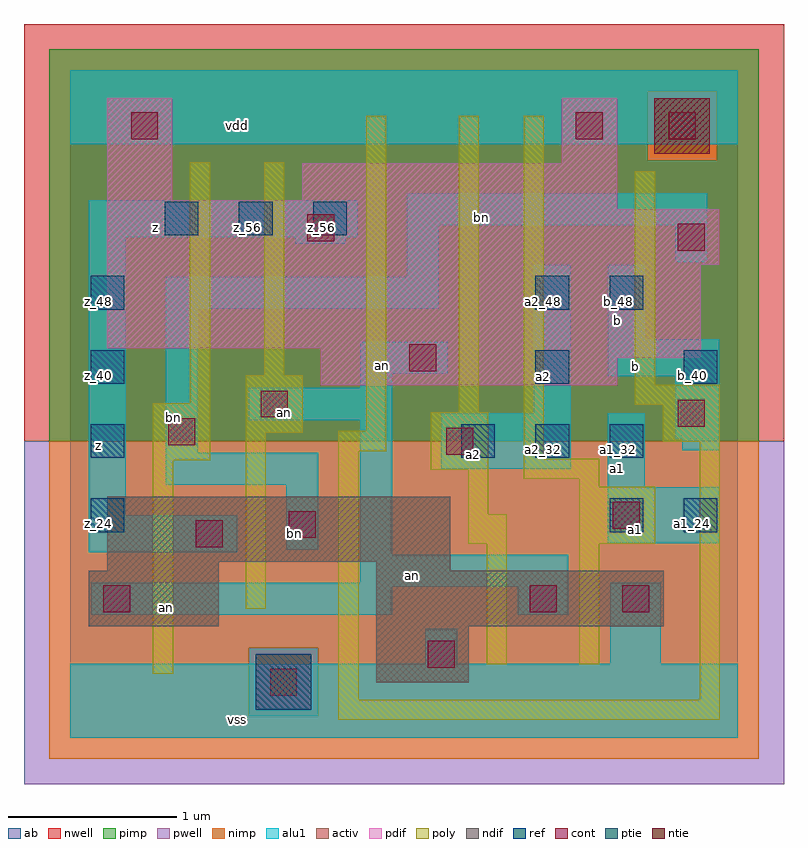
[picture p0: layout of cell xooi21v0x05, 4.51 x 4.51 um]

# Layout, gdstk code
import gdstk
lib = gdstk.Library(unit=1e-6, precision=2.5e-09)
def R(c, l, rs):  # rectangles x0, y0, x1, y1
    for r in rs: c.add(gdstk.rectangle(r[:2], r[2:], *l))
def A(c, l, x, y, w, h, nx, ny, dx, dy):  # array of equal rectangles
    R(c, l, [(x+i*dx, y+j*dy, x+i*dx+w, y+j*dy+h) for i in range(nx) for j in range(ny)])
ndif = (3, 0)
pdif = (4, 0)
ntie = (5, 0)
ptie = (6, 0)
ref = (24, 0)
cont = (25, 0)
pwell = (41, 0)
nwell = (42, 0)
activ = (43, 0)
pimp = (44, 0)
nimp = (45, 0)
poly = (46, 0)
alu1 = (49, 0)
ab = (63, 0)

xooi21v0x05 = lib.new_cell('xooi21v0x05')
R(xooi21v0x05, ndif, [(1.815,0.33,2.365,0.66), (0.11,0.66,0.88,0.99), (1.815,0.66,3.52,0.99), (0.22,0.99,0.88,1.045), (1.815,0.99,2.255,1.045), (0.22,1.045,2.255,1.43)])
R(xooi21v0x05, pdif, [(1.485,2.09,3.245,2.255), (1.485,2.255,3.74,2.31), (0.22,2.31,3.74,2.805), (0.22,2.805,3.85,3.135), (0.22,3.135,3.245,3.19), (0.22,3.19,0.605,3.795), (1.375,3.19,3.245,3.41), (2.915,3.41,3.245,3.795)])
R(xooi21v0x05, ntie, [(3.465,3.465,3.795,3.795)])
R(xooi21v0x05, ptie, [(1.1,0.165,1.43,0.495)])
A(xooi21v0x05, ref, 0.12, 1.22, 0.2, 0.2, 1, 4, 0, 0.44)
A(xooi21v0x05, ref, 2.32, 1.66, 0.2, 0.2, 3, 1, 0.44, 0)
A(xooi21v0x05, ref, 0.56, 2.98, 0.2, 0.2, 3, 1, 0.44, 0)
R(xooi21v0x05, ref, [(3.2,1.22,3.4,1.42), (3.64,1.22,3.84,1.42), (2.76,2.1,2.96,2.3), (3.64,2.1,3.84,2.3), (2.76,2.54,2.96,2.74), (3.2,2.54,3.4,2.74)])
R(xooi21v0x05, cont, [(1.185,0.25,1.345,0.41), (2.12,0.415,2.28,0.575), (0.195,0.745,0.355,0.905), (2.725,0.745,2.885,0.905), (3.275,0.745,3.435,0.905), (0.745,1.13,0.905,1.29), (1.295,1.185,1.455,1.345), (3.22,1.24,3.38,1.4), (2.23,1.68,2.39,1.84), (0.58,1.735,0.74,1.895), (3.605,1.845,3.765,2.005), (1.13,1.9,1.29,2.06), (2.01,2.175,2.17,2.335), (3.605,2.89,3.765,3.05), (1.405,2.945,1.565,3.105), (0.36,3.55,0.52,3.71), (3,3.55,3.16,3.71), (3.55,3.55,3.71,3.71)])
R(xooi21v0x05, pwell, [(-0.275,-0.275,4.235,1.76)])
R(xooi21v0x05, nwell, [(-0.275,1.76,4.235,4.235)])
R(xooi21v0x05, activ, [(1.1,0.165,1.43,0.495), (1.815,0.33,2.365,0.66), (0.11,0.66,0.88,0.99), (1.815,0.66,3.52,0.99), (0.22,0.99,0.88,1.045), (1.815,0.99,2.255,1.045), (0.22,1.045,2.255,1.43), (1.485,2.09,3.245,2.255), (1.485,2.255,3.74,2.31), (0.22,2.31,3.74,2.805), (0.22,2.805,3.85,3.135), (0.22,3.135,3.245,3.19), (0.22,3.19,0.605,3.795), (1.375,3.19,3.245,3.41), (2.915,3.41,3.245,3.795), (3.465,3.465,3.795,3.795)])
R(xooi21v0x05, pimp, [(1.06,0.125,1.47,0.535), (-0.125,1.76,4.085,3.425), (-0.125,3.425,3.425,3.835), (3.835,3.425,4.085,3.835), (-0.125,3.835,4.085,4.085)])
R(xooi21v0x05, nimp, [(-0.125,-0.125,4.085,0.125), (-0.125,0.125,1.06,0.535), (1.47,0.125,4.085,0.535), (-0.125,0.535,4.085,1.76), (3.425,3.425,3.835,3.835)])
R(xooi21v0x05, poly, [(1.59,0.105,3.855,0.225), (1.59,0.225,1.71,1.7), (3.735,0.225,3.855,1.755), (0.49,0.38,0.61,1.645), (2.47,0.435,2.59,1.15), (3.02,0.435,3.14,1.15), (1.04,0.765,1.16,1.81), (2.36,1.15,2.59,1.325), (3.02,1.15,3.47,1.49), (2.36,1.325,2.48,1.59), (3.02,1.49,3.14,1.535), (2.69,1.535,3.14,1.655), (2.14,1.59,2.48,1.93), (0.49,1.645,0.83,1.985), (2.69,1.655,2.81,3.69), (1.59,1.7,1.875,1.82), (3.515,1.755,3.855,1.975), (1.04,1.81,1.38,2.15), (1.755,1.82,1.875,3.69), (2.305,1.93,2.425,3.69), (3.35,1.975,3.855,2.095), (0.71,1.985,0.83,3.415), (3.35,2.095,3.47,3.36), (1.15,2.15,1.27,3.415)])
R(xooi21v0x05, alu1, [(0,0,3.96,0.44), (2.105,0.44,2.295,0.645), (3.205,0.44,3.505,0.92), (0.125,0.73,1.91,0.895), (2.655,0.73,2.955,0.895), (0.125,0.895,2.955,0.92), (1.72,0.92,2.955,1.085), (1.72,1.085,1.91,1.885), (0.11,1.1,0.99,1.32), (1.28,1.115,1.47,1.5), (3.19,1.155,3.85,1.485), (0.11,1.32,0.33,2.97), (3.19,1.485,3.41,1.925), (0.565,1.5,1.47,1.69), (2.2,1.595,2.97,1.925), (0.565,1.69,0.755,2.545), (3.63,1.705,3.85,1.775), (3.59,1.775,3.85,2.145), (1.06,1.885,1.91,2.075), (2.75,1.925,2.97,2.805), (1.72,2.075,1.91,2.16), (3.19,2.145,3.85,2.365), (1.72,2.16,2.24,2.35), (3.19,2.365,3.41,2.805), (0.565,2.545,2.185,2.735), (1.995,2.735,2.185,3.04), (3.59,2.82,3.78,3.04), (1.335,2.93,1.635,2.97), (0.11,2.97,1.705,3.19), (1.995,3.04,3.78,3.23), (0,3.52,3.96,3.96)])
R(xooi21v0x05, ab, [(0,0,3.96,3.96)])
xooi21v0x05.add(gdstk.Label('vss', (0.99,0.11), layer=49, texttype=0))
xooi21v0x05.add(gdstk.Label('an', (0.57,0.77), layer=49, texttype=0))
xooi21v0x05.add(gdstk.Label('an', (2.0275,0.96), layer=49, texttype=0))
xooi21v0x05.add(gdstk.Label('a1', (3.355,1.2375), layer=49, texttype=0))
xooi21v0x05.add(gdstk.Label('a1', (3.245,1.595), layer=49, texttype=0))
xooi21v0x05.add(gdstk.Label('a2', (2.3925,1.6775), layer=49, texttype=0))
xooi21v0x05.add(gdstk.Label('bn', (1.3275,1.21), layer=49, texttype=0))
xooi21v0x05.add(gdstk.Label('b', (3.355,2.2), layer=49, texttype=0))
xooi21v0x05.add(gdstk.Label('b', (3.245,2.475), layer=49, texttype=0))
xooi21v0x05.add(gdstk.Label('a2', (2.805,2.145), layer=49, texttype=0))
xooi21v0x05.add(gdstk.Label('an', (1.2725,1.9325), layer=49, texttype=0))
xooi21v0x05.add(gdstk.Label('an', (1.85,2.2075), layer=49, texttype=0))
xooi21v0x05.add(gdstk.Label('bn', (0.6125,1.9025), layer=49, texttype=0))
xooi21v0x05.add(gdstk.Label('z', (0.165,1.7325), layer=49, texttype=0))
xooi21v0x05.add(gdstk.Label('bn', (2.44,3.0875), layer=49, texttype=0))
xooi21v0x05.add(gdstk.Label('z', (0.5075,3.025), layer=49, texttype=0))
xooi21v0x05.add(gdstk.Label('vdd', (0.99,3.63), layer=49, texttype=0))
xooi21v0x05.add(gdstk.Label('z_56', (0.61,3.03), layer=24, texttype=0))
xooi21v0x05.add(gdstk.Label('z_56', (1.05,3.03), layer=24, texttype=0))
xooi21v0x05.add(gdstk.Label('z_56', (1.49,3.03), layer=24, texttype=0))
xooi21v0x05.add(gdstk.Label('z_24', (0.17,1.27), layer=24, texttype=0))
xooi21v0x05.add(gdstk.Label('z_32', (0.17,1.71), layer=24, texttype=0))
xooi21v0x05.add(gdstk.Label('z_40', (0.17,2.15), layer=24, texttype=0))
xooi21v0x05.add(gdstk.Label('z_48', (0.17,2.59), layer=24, texttype=0))
xooi21v0x05.add(gdstk.Label('a2_32', (2.37,1.71), layer=24, texttype=0))
xooi21v0x05.add(gdstk.Label('a2_32', (2.81,1.71), layer=24, texttype=0))
xooi21v0x05.add(gdstk.Label('a2_40', (2.81,2.15), layer=24, texttype=0))
xooi21v0x05.add(gdstk.Label('a2_48', (2.81,2.59), layer=24, texttype=0))
xooi21v0x05.add(gdstk.Label('a1_24', (3.25,1.27), layer=24, texttype=0))
xooi21v0x05.add(gdstk.Label('a1_32', (3.25,1.71), layer=24, texttype=0))
xooi21v0x05.add(gdstk.Label('b_48', (3.25,2.59), layer=24, texttype=0))
xooi21v0x05.add(gdstk.Label('a1_24', (3.69,1.27), layer=24, texttype=0))
xooi21v0x05.add(gdstk.Label('b_40', (3.69,2.15), layer=24, texttype=0))

lib.write_gds('xooi21v0x05.gds')
